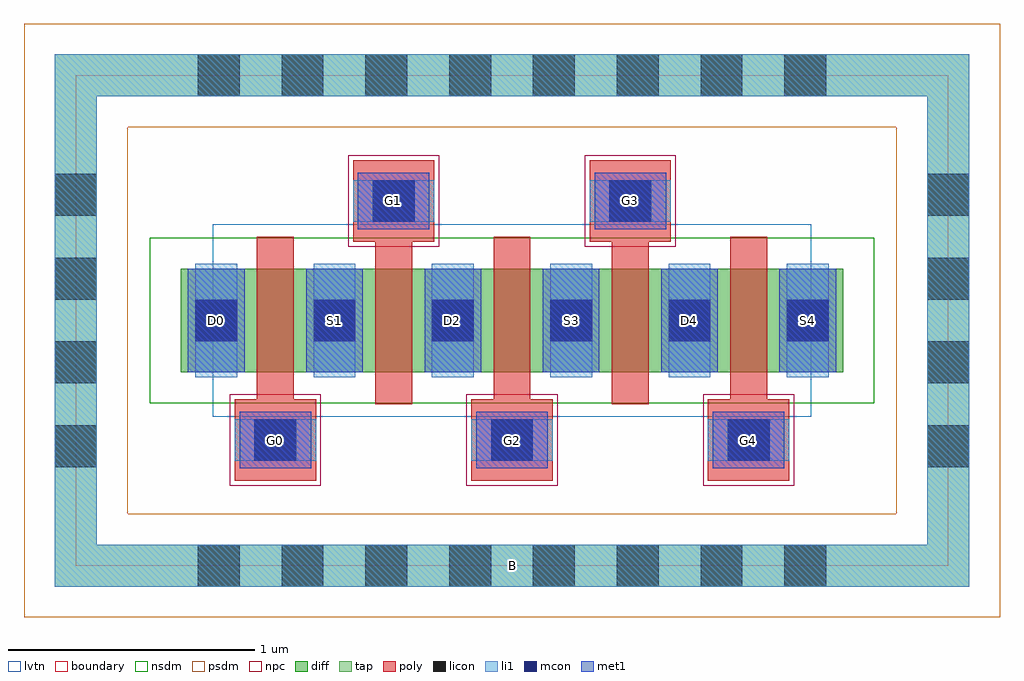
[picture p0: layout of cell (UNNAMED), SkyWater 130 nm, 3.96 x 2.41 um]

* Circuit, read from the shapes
.subckt (UNNAMED) B D0 D2 D4 G0 G1 G2 G3 G4 S1 S3 S4
XM1 S1 G0 D0 B sky130_fd_pr__nfet_01v8_lvt w=0.42 l=0.15
XM2 D2 G1 S1 B sky130_fd_pr__nfet_01v8_lvt w=0.42 l=0.15
XM3 S3 G2 D2 B sky130_fd_pr__nfet_01v8_lvt w=0.42 l=0.15
XM4 D4 G3 S3 B sky130_fd_pr__nfet_01v8_lvt w=0.42 l=0.15
XM5 S4 G4 D4 B sky130_fd_pr__nfet_01v8_lvt w=0.42 l=0.15
.ends

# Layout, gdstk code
import gdstk
lib = gdstk.Library(unit=1e-6, precision=1e-09)
def R(c, l, rs):  # rectangles x0, y0, x1, y1
    for r in rs: c.add(gdstk.rectangle(r[:2], r[2:], *l))
def A(c, l, x, y, w, h, nx, ny, dx, dy):  # array of equal rectangles
    R(c, l, [(x+i*dx, y+j*dy, x+i*dx+w, y+j*dy+h) for i in range(nx) for j in range(ny)])
diff = (65, 20)
tap = (65, 44)
poly = (66, 20)
licon = (66, 44)
li1 = (67, 20)
mcon = (67, 44)
met1 = (68, 20)
nsdm = (93, 44)
psdm = (94, 20)
npc = (95, 20)
lvtn = (125, 44)
boundary = (235, 4)

c__unnamed_ = lib.new_cell('(UNNAMED)')
R(c__unnamed_, diff, [(-1.345,-0.21,1.345,0.21)])
R(c__unnamed_, tap, [(-1.855,-1.08,1.855,-0.91), (-1.855,-0.91,-1.685,0.91), (1.685,-0.91,1.855,0.91), (-1.855,0.91,1.855,1.08)])
A(c__unnamed_, poly, -1.125, -0.65, 0.33, 0.33, 3, 1, 0.96, 0)
A(c__unnamed_, poly, -1.035, -0.32, 0.15, 0.66, 3, 1, 0.96, 0)
R(c__unnamed_, poly, [(-0.555,-0.34,-0.405,0.32), (0.405,-0.34,0.555,0.32), (-0.645,0.32,-0.315,0.65), (0.315,0.32,0.645,0.65)])
A(c__unnamed_, licon, -1.275, -1.08, 0.17, 0.17, 8, 2, 0.34, 1.99)
A(c__unnamed_, licon, -1.855, -0.595, 0.17, 0.17, 1, 4, 0, 0.34)
A(c__unnamed_, licon, 1.685, -0.595, 0.17, 0.17, 1, 4, 0, 0.34)
A(c__unnamed_, licon, -1.045, -0.57, 0.17, 0.17, 3, 1, 0.96, 0)
A(c__unnamed_, licon, -1.285, -0.085, 0.17, 0.17, 6, 1, 0.48, 0)
R(c__unnamed_, licon, [(-0.565,0.4,-0.395,0.57), (0.395,0.4,0.565,0.57)])
A(c__unnamed_, li1, -1.125, -0.57, 0.33, 0.17, 3, 1, 0.96, 0)
A(c__unnamed_, li1, -1.285, -0.23, 0.17, 0.46, 6, 1, 0.48, 0)
R(c__unnamed_, li1, [(-1.855,-1.08,1.855,-0.91), (-1.855,-0.91,-1.685,0.91), (1.685,-0.91,1.855,0.91), (-0.645,0.4,-0.315,0.57), (0.315,0.4,0.645,0.57), (-1.855,0.91,1.855,1.08)])
A(c__unnamed_, mcon, -1.045, -0.57, 0.17, 0.17, 3, 1, 0.96, 0)
A(c__unnamed_, mcon, -1.285, -0.085, 0.17, 0.17, 6, 1, 0.48, 0)
R(c__unnamed_, mcon, [(-0.565,0.4,-0.395,0.57), (0.395,0.4,0.565,0.57)])
A(c__unnamed_, met1, -1.105, -0.6, 0.29, 0.23, 3, 1, 0.96, 0)
A(c__unnamed_, met1, -1.315, -0.21, 0.23, 0.42, 6, 1, 0.48, 0)
R(c__unnamed_, met1, [(-0.625,0.37,-0.335,0.6), (0.335,0.37,0.625,0.6)])
R(c__unnamed_, nsdm, [(-1.47,-0.335,1.47,0.335)])
R(c__unnamed_, psdm, [(-1.98,-1.205,1.98,-0.785), (-1.98,-0.785,-1.56,0.785), (1.56,-0.785,1.98,0.785), (-1.98,0.785,1.98,1.205)])
A(c__unnamed_, npc, -1.145, -0.67, 0.37, 0.37, 3, 1, 0.96, 0)
R(c__unnamed_, npc, [(-0.665,0.3,-0.295,0.67), (0.295,0.3,0.665,0.67)])
R(c__unnamed_, lvtn, [(-1.215,-0.39,1.215,0.39)])
R(c__unnamed_, boundary, [(-1.77,-0.995,1.77,0.995)])
c__unnamed_.add(gdstk.Label('B', (0,-0.995), layer=67, texttype=5))
c__unnamed_.add(gdstk.Label('D0', (-1.2,0), layer=67, texttype=5))
c__unnamed_.add(gdstk.Label('G0', (-0.96,-0.485), layer=67, texttype=5))
c__unnamed_.add(gdstk.Label('S1', (-0.72,0), layer=67, texttype=5))
c__unnamed_.add(gdstk.Label('G1', (-0.48,0.485), layer=67, texttype=5))
c__unnamed_.add(gdstk.Label('D2', (-0.24,0), layer=67, texttype=5))
c__unnamed_.add(gdstk.Label('G2', (0,-0.485), layer=67, texttype=5))
c__unnamed_.add(gdstk.Label('S3', (0.24,0), layer=67, texttype=5))
c__unnamed_.add(gdstk.Label('G3', (0.48,0.485), layer=67, texttype=5))
c__unnamed_.add(gdstk.Label('D4', (0.72,0), layer=67, texttype=5))
c__unnamed_.add(gdstk.Label('S4', (1.2,0), layer=67, texttype=5))
c__unnamed_.add(gdstk.Label('G4', (0.96,-0.485), layer=67, texttype=5))

lib.write_gds('_UNNAMED_.gds')
